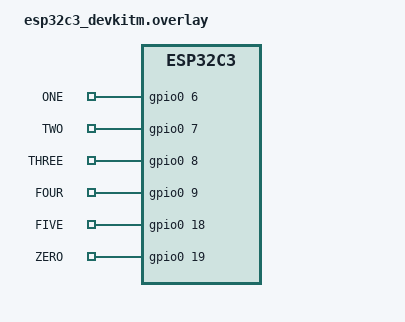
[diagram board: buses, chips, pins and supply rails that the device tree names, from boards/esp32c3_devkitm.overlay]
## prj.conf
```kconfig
CONFIG_STDOUT_CONSOLE=y
CONFIG_PRINTK=y
CONFIG_PWM=y
CONFIG_PWM_LED_ESP32=y
CONFIG_HEAP_MEM_POOL_SIZE=5120
CONFIG_STDOUT_CONSOLE=y
CONFIG_PRINTK=y
CONFIG_PWM=y
CONFIG_LOG=y
CONFIG_LOG_PRINTK=y
CONFIG_LOG_MODE_IMMEDIATE=y
CONFIG_PWM_LOG_LEVEL_DBG=y
CONFIG_GPIO=y
```

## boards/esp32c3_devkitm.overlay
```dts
/ {
    gpio_pins {
        compatible = "gpio-keys";
        status = "okay";

        one_pin: one {
            gpios = <&gpio0 6 GPIO_ACTIVE_HIGH>;  // GPIO4 for TRIG
            label = "ONE";
        };

        two_pin: two {
            gpios = <&gpio0 7 GPIO_ACTIVE_HIGH>;  // GPIO5 for ECHO
            label = "TWO";
        };

        three_pin: three {
            gpios = <&gpio0 8 GPIO_ACTIVE_HIGH>;  // GPIO4 for TRIG
            label = "THREE";
        };

        four_pin: four {
            gpios = <&gpio0 9 GPIO_ACTIVE_HIGH>;  // GPIO5 for ECHO
            label = "FOUR";
        };

        five_pin: five {
            gpios = <&gpio0 18 GPIO_ACTIVE_HIGH>;  // GPIO4 for TRIG
            label = "FIVE";
        };

        zero_pin: zero {
            gpios = <&gpio0 19 GPIO_ACTIVE_HIGH>;  // GPIO5 for ECHO
            label = "ZERO";
        };
    };

    aliases {
        one = &one_pin;
        two = &two_pin;
        three = &three_pin;
        four = &four_pin;
        five = &five_pin;
        zero = &zero_pin;
    };
};
```

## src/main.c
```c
#include <zephyr/kernel.h>
#include <zephyr/device.h>
#include <zephyr/drivers/gpio.h>

#define PIN_ZERO 6
#define PIN_ONE 7
#define PIN_TWO 8
#define GPIO_NODE DT_NODELABEL(gpio0)

int main(void)
{
    int ret;
	const struct device *gpio_dev = DEVICE_DT_GET(GPIO_NODE);
    if (!device_is_ready(gpio_dev)) {
        printk("Error: GPIO device not ready\n");
        return 1;
    }

    // Configure pins
    ret = gpio_pin_configure(gpio_dev, PIN_ZERO, GPIO_OUTPUT_INACTIVE);
    if (ret < 0) {
        printk("Error configuring trigger pin: %d\n", ret);
        return 1;
    }

    // Configure pins
    ret = gpio_pin_configure(gpio_dev, PIN_ONE, GPIO_OUTPUT_INACTIVE);
    if (ret < 0) {
        printk("Error configuring trigger pin: %d\n", ret);
        return 1;
    }

	// Configure pins
    ret = gpio_pin_configure(gpio_dev, PIN_TWO, GPIO_OUTPUT_INACTIVE);
    if (ret < 0) {
        printk("Error configuring trigger pin: %d\n", ret);
        return 1;
    }

    gpio_pin_set(gpio_dev, PIN_ZERO, 0);
    gpio_pin_set(gpio_dev, PIN_ONE, 0);
    gpio_pin_set(gpio_dev, PIN_TWO, 0);
    k_msleep(2000);

	while (1) {
		gpio_pin_set(gpio_dev, PIN_ZERO, 1);
        gpio_pin_set(gpio_dev, PIN_ONE, 0);
        gpio_pin_set(gpio_dev, PIN_TWO, 0);
		k_sleep(K_SECONDS(2));
		gpio_pin_set(gpio_dev, PIN_ZERO, 0);
		gpio_pin_set(gpio_dev, PIN_ONE, 1);
        gpio_pin_set(gpio_dev, PIN_TWO, 0);
		k_sleep(K_SECONDS(2));
		gpio_pin_set(gpio_dev, PIN_ZERO, 1);
		gpio_pin_set(gpio_dev, PIN_ONE, 1);
        gpio_pin_set(gpio_dev, PIN_TWO, 0);
		k_sleep(K_SECONDS(2));
		gpio_pin_set(gpio_dev, PIN_ZERO, 0);
		gpio_pin_set(gpio_dev, PIN_ONE, 0);
        gpio_pin_set(gpio_dev, PIN_TWO, 1);
		k_sleep(K_SECONDS(2));
		gpio_pin_set(gpio_dev, PIN_ZERO, 1);
		gpio_pin_set(gpio_dev, PIN_ONE, 0);
        gpio_pin_set(gpio_dev, PIN_TWO, 1);
		k_sleep(K_SECONDS(2));
		gpio_pin_set(gpio_dev, PIN_ZERO, 1);
		gpio_pin_set(gpio_dev, PIN_ONE, 1);
        gpio_pin_set(gpio_dev, PIN_TWO, 1);
		k_sleep(K_SECONDS(2));
		gpio_pin_set(gpio_dev, PIN_ZERO, 0);
		gpio_pin_set(gpio_dev, PIN_ONE, 0);
        gpio_pin_set(gpio_dev, PIN_TWO, 0);
	}

	return 1;
}
```
